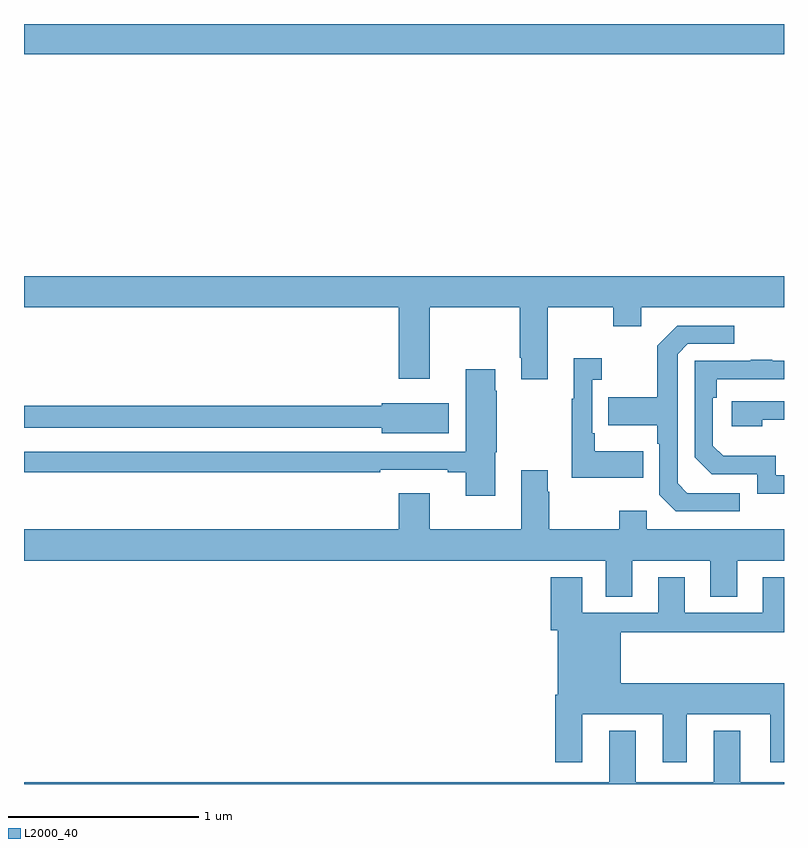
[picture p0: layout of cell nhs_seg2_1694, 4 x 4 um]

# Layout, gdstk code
import gdstk
lib = gdstk.Library(unit=1e-6, precision=1e-09)
def R(c, l, rs):  # rectangles x0, y0, x1, y1
    for r in rs: c.add(gdstk.rectangle(r[:2], r[2:], *l))
def P(c, l, *ps):  # polygons
    for p in ps: c.add(gdstk.Polygon(p, *l))
L2000_40 = (2000, 40)

nhs_seg2_1694 = lib.new_cell('nhs_seg2_1694')
R(nhs_seg2_1694, L2000_40, [(199,643.64,203,643.8)])
P(nhs_seg2_1694, L2000_40, [(201.757,642.308),(202.102,642.308),(202.102,642.209),(202.249,642.209),(202.249,642.308),(203,642.308),(203,642.472),(199,642.472),(199,642.308),(200.972,642.308),(200.972,641.934),(201.136,641.934),(201.136,642.308),(201.61,642.308),(201.61,642.043),(201.617,642.043),(201.617,641.931),(201.757,641.931)],
  [(202.768,641.331),(202.491,641.331),(202.44,641.382),(202.44,642.063),(202.494,642.117),(202.738,642.117),(202.738,642.213),(202.437,642.213),(202.332,642.107),(202.332,641.835),(202.075,641.835),(202.075,641.687),(202.332,641.687),(202.332,641.591),(202.344,641.591),(202.344,641.322),(202.431,641.235),(202.768,641.235)],
  [(202.259,641.551),(202.003,641.551),(202.003,641.647),(201.99,641.647),(201.99,641.927),(202.042,641.927),(202.042,642.04),(201.893,642.04),(201.893,641.827),(201.882,641.827),(201.882,641.411),(202.259,641.411)],
  [(203,641.424),(202.956,641.424),(202.956,641.527),(202.679,641.527),(202.626,641.58),(202.626,641.834),(202.646,641.834),(202.646,641.931),(203,641.931),(203,642.027),(202.937,642.027),(202.937,642.032),(202.825,642.032),(202.825,642.027),(202.53,642.027),(202.53,641.52),(202.62,641.43),(202.86,641.43),(202.86,641.328),(203,641.328)],
  [(201.481,641.547),(201.489,641.547),(201.489,641.87),(201.481,641.87),(201.481,641.983),(201.326,641.983),(201.326,641.55),(199,641.55),(199,641.442),(200.876,641.442),(200.876,641.454),(201.23,641.454),(201.23,641.442),(201.326,641.442),(201.326,641.316),(201.481,641.316)],
  [(202.886,641.718),(203,641.718),(203,641.814),(202.725,641.814),(202.725,641.684),(202.886,641.684)],
  [(201.235,641.803),(200.882,641.803),(200.882,641.792),(199,641.792),(199,641.676),(200.882,641.676),(200.882,641.645),(201.235,641.645)],
  [(202.201,640.976),(202.613,640.976),(202.613,640.786),(202.753,640.786),(202.753,640.976),(203,640.976),(203,641.14),(202.278,641.14),(202.278,641.239),(202.132,641.239),(202.132,641.14),(201.765,641.14),(201.765,641.339),(201.757,641.339),(201.757,641.452),(201.617,641.452),(201.617,641.14),(201.136,641.14),(201.136,641.329),(200.972,641.329),(200.972,641.14),(199,641.14),(199,640.976),(202.061,640.976),(202.061,640.786),(202.201,640.786)],
  [(201.937,640.166),(202.361,640.166),(202.361,639.915),(202.489,639.915),(202.489,640.166),(202.928,640.166),(202.928,639.915),(203,639.915),(203,640.33),(202.141,640.33),(202.141,640.6),(203,640.6),(203,640.888),(202.889,640.888),(202.889,640.701),(202.477,640.701),(202.477,640.888),(202.337,640.888),(202.337,640.701),(201.937,640.701),(201.937,640.888),(201.773,640.888),(201.773,640.608),(201.809,640.608),(201.809,640.27),(201.797,640.27),(201.797,639.915),(201.937,639.915)],
  [(203,639.808),(202.771,639.808),(202.771,640.081),(202.631,640.081),(202.631,639.808),(202.219,639.808),(202.219,640.081),(202.079,640.081),(202.079,639.808),(199,639.808),(199,639.8),(203,639.8)])

lib.write_gds('nhs_seg2_1694.gds')
